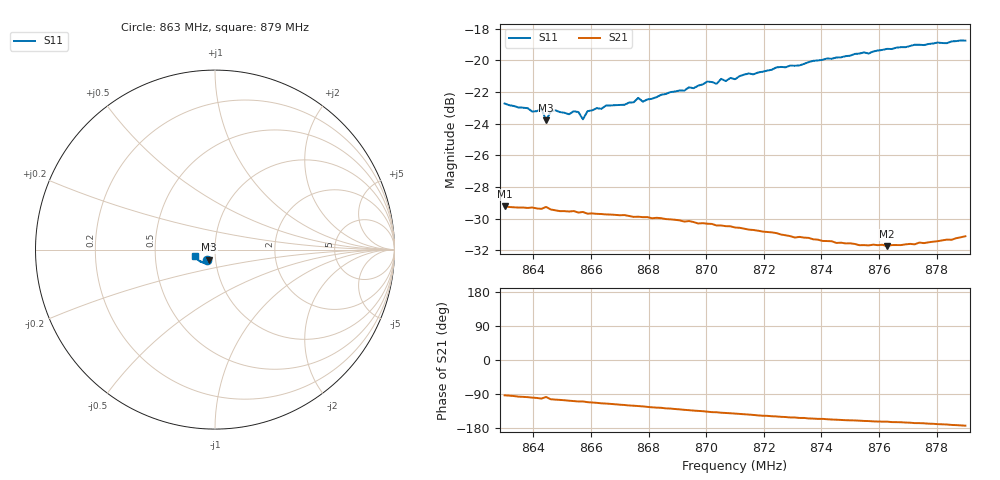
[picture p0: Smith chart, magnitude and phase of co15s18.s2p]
# HZ S RI R 50
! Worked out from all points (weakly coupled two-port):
!   101 points, 863 MHz to 879 MHz, reference 50 ohm
!   highest |S21| = -29.24 dB at 863 MHz (marker M1); lowest = -31.7 dB at 876.28 MHz (marker M2)
!   lowest |S11| = -23.8 dB at 864.44 MHz (marker M3), VSWR 1.14, Z = 46.5 - j5.2 ohm
!   |S11| at or under -10 dB: start of sweep to end of sweep
!   S12 and S22 are empty: the file has one direction only
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8.63e8  -0.0459 -0.0569  -0.0019 -0.0345  0 0  0 0
8.6396e8  -0.0411 -0.0553  -0.00549 -0.0338  0 0  0 0
8.6428e8  -0.0403 -0.0577  -0.00693 -0.0332  0 0  0 0
8.6444e8  -0.033 -0.0556  -0.0045 -0.0341  0 0  0 0
8.646e8  -0.039 -0.0568  -0.00793 -0.0328  0 0  0 0
8.6476e8  -0.0402 -0.0568  -0.00845 -0.0325  0 0  0 0
8.6556e8  -0.0371 -0.0578  -0.011 -0.0312  0 0  0 0
8.6572e8  -0.0359 -0.0544  -0.011 -0.0313  0 0  0 0
8.6588e8  -0.0369 -0.0585  -0.0119 -0.0305  0 0  0 0
8.662e8  -0.0372 -0.0601  -0.0128 -0.0301  0 0  0 0
8.6716e8  -0.0367 -0.0624  -0.0156 -0.0284  0 0  0 0
8.6764e8  -0.0389 -0.0655  -0.0168 -0.0273  0 0  0 0
8.678e8  -0.0376 -0.0638  -0.0171 -0.027  0 0  0 0
8.6844e8  -0.0395 -0.0672  -0.0187 -0.0256  0 0  0 0
8.7004e8  -0.0466 -0.072  -0.022 -0.021  0 0  0 0
8.7036e8  -0.0461 -0.0707  -0.0223 -0.0202  0 0  0 0
8.7052e8  -0.0493 -0.0722  -0.0228 -0.0197  0 0  0 0
8.71e8  -0.0507 -0.071  -0.0231 -0.0185  0 0  0 0
8.7372e8  -0.0693 -0.0718  -0.0246 -0.0116  0 0  0 0
8.7628e8  -0.0905 -0.0605  -0.0247 -0.0077  0 0  0 0
8.7644e8  -0.0909 -0.0596  -0.025 -0.00726  0 0  0 0
8.79e8  -0.109 -0.0381  -0.0276 -0.00326  0 0  0 0
